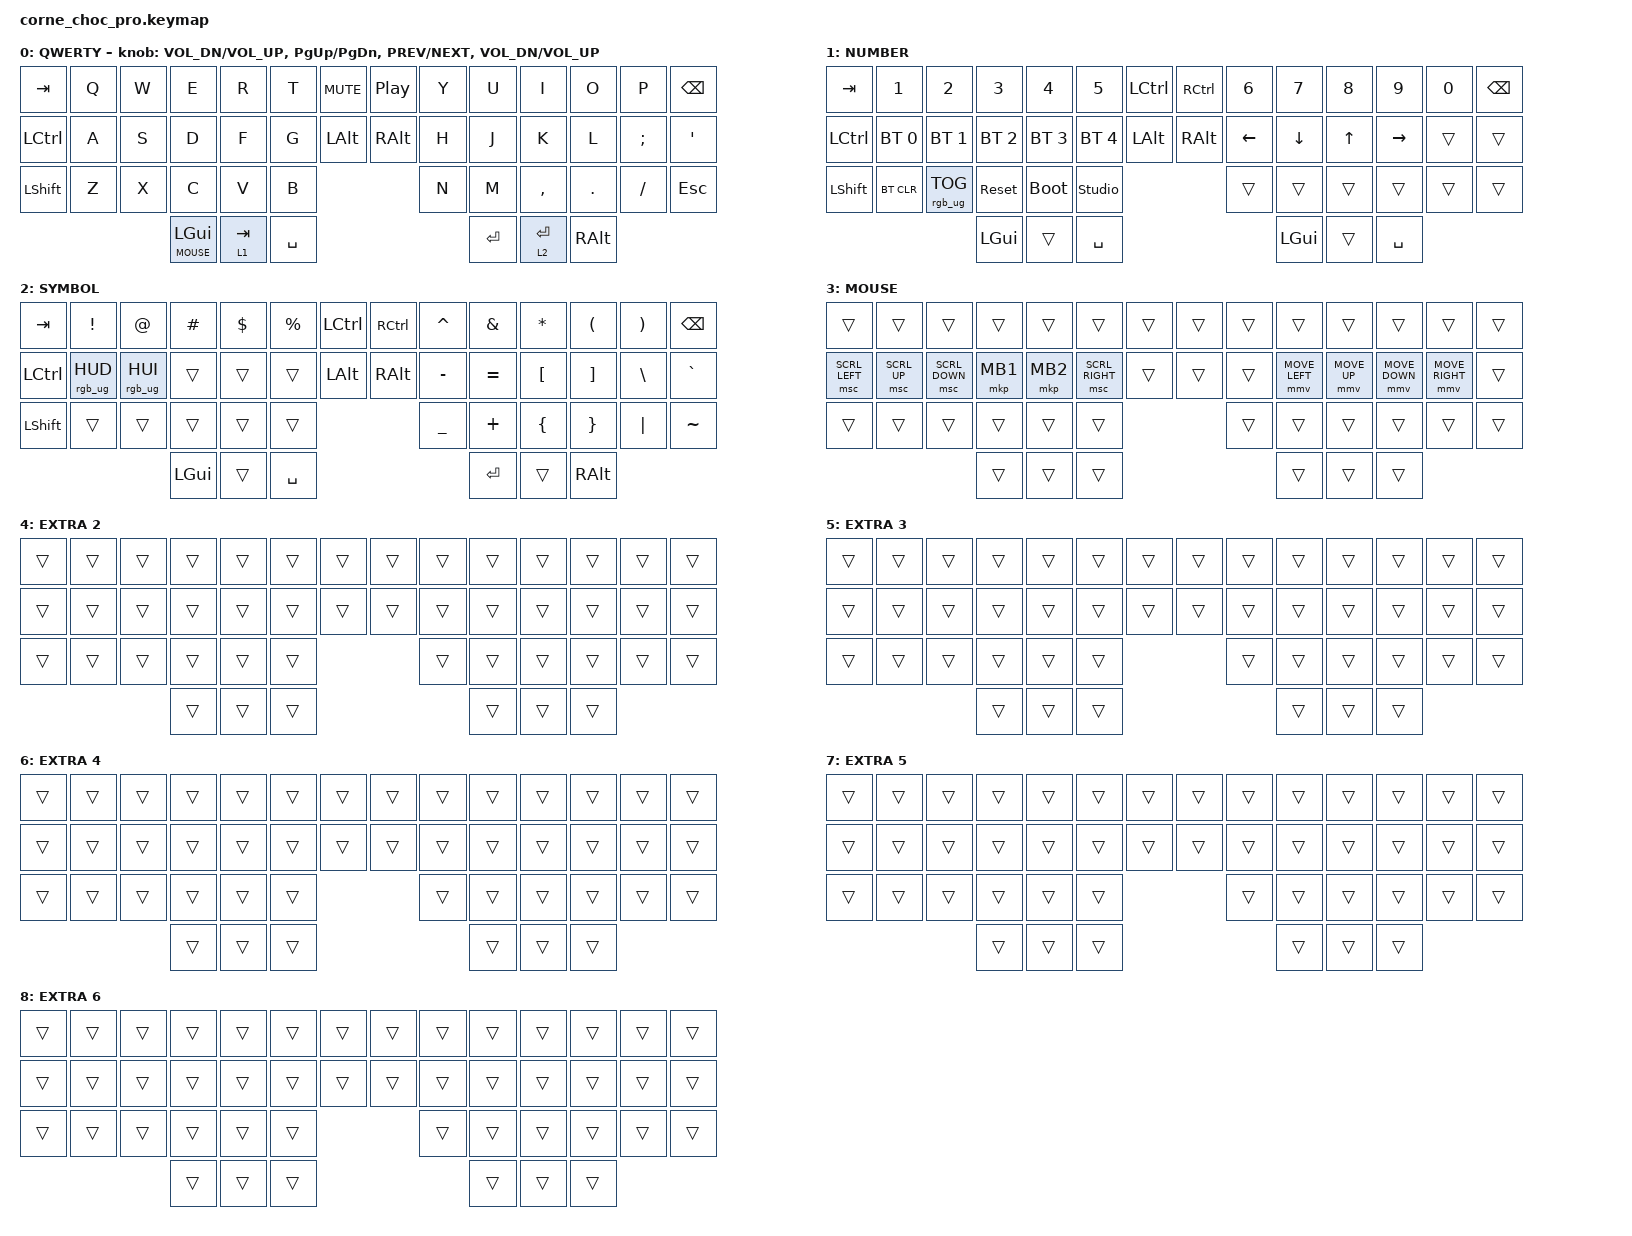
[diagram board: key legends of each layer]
/*
 * Copyright (c) 2020 The ZMK Contributors
 *
 * SPDX-License-Identifier: MIT
 */

#include <behaviors.dtsi>
#include <dt-bindings/zmk/keys.h>
#include <dt-bindings/zmk/bt.h>
#include <dt-bindings/zmk/rgb.h>
#include <dt-bindings/zmk/pointing.h>

// Layer-Indizes (Reihenfolge entspricht der Reihenfolge unten im keymap-Block)
#define MOUSE 3

/ {
    chosen {
        zmk,physical-layout = &default_layout;
    };
};

/ {
    behaviors {
        // Home Row Mod, linke Hand. In ZMK Studio als "Home Row Mod Left" waehlbar.
        // Der Modifier greift nur, wenn eine Taste der RECHTEN Hand folgt
        // (oder wenn lange gehalten wird). Tasten der gleichen Hand sind immer normales Tippen.
        // Auf keiner Taste vorbelegt: Du waehlst sie selbst in Studio.
        hml: homerow_mods_left {
            compatible = "zmk,behavior-hold-tap";
            display-name = "Home Row Mod Left";
            #binding-cells = <2>;
            flavor = "balanced";
            tapping-term-ms = <280>;
            quick-tap-ms = <175>;
            require-prior-idle-ms = <150>;
            bindings = <&kp>, <&kp>;
            hold-trigger-key-positions = <7 8 9 10 11 12 13 21 22 23 24 25 26 27 34 35 36 37 38 39 43 44 45>;
            hold-trigger-on-release;
        };

        // Home Row Mod, rechte Hand. In ZMK Studio als "Home Row Mod Right" waehlbar.
        // Reagiert nur auf Tasten der LINKEN Hand.
        hmr: homerow_mods_right {
            compatible = "zmk,behavior-hold-tap";
            display-name = "Home Row Mod Right";
            #binding-cells = <2>;
            flavor = "balanced";
            tapping-term-ms = <280>;
            quick-tap-ms = <175>;
            require-prior-idle-ms = <150>;
            bindings = <&kp>, <&kp>;
            hold-trigger-key-positions = <0 1 2 3 4 5 6 14 15 16 17 18 19 20 28 29 30 31 32 33 40 41 42>;
            hold-trigger-on-release;
        };

        // Linke Daumentaste: halten = NUMBER-Layer, antippen = Tab.
        lt_num: lt_num {
            compatible = "zmk,behavior-hold-tap";
            display-name = "Layer Tap NUM";
            #binding-cells = <2>;
            flavor = "balanced";
            tapping-term-ms = <250>;
            bindings = <&mo>, <&kp>;
        };

        // Rechte Daumentaste: halten = SYMBOL-Layer, antippen = Enter.
        lt_sym: lt_sym {
            compatible = "zmk,behavior-hold-tap";
            display-name = "Layer Tap SYM";
            #binding-cells = <2>;
            flavor = "balanced";
            tapping-term-ms = <250>;
            bindings = <&mo>, <&kp>;
        };
    };

    keymap {
        compatible = "zmk,keymap";

        default_layer {
            display-name = "QWERTY";
            // --------------------------------------------------------------------------------
            // |  TAB |  Q  |  W  |  E  |  R  |  T  |  MUTE |  PP   |  Y  |  U   |  I  |  O  |  P  | BSPC |
            // | CTRL |  A  |  S  |  D  |  F  |  G  |  LALT |  RALT |  H  |  J   |  K  |  L  |  ;  |  '   |
            // | SHFT |  Z  |  X  |  C  |  V  |  B  |               |  N  |  M   |  ,  |  .  |  /  | ESC  |
            //                    |GUI/M| NUM | SPC |               | ENT | SYM  | ALT |
            // GUI/M = antippen: GUI, halten: MOUSE-Layer
            bindings = <
                &kp TAB   &kp Q &kp W &kp E &kp R &kp T &kp C_MUTE &kp C_PP &kp Y &kp U  &kp I     &kp O   &kp P    &kp BSPC
                &kp LCTRL &kp A &kp S &kp D &kp F &kp G &kp LALT   &kp RALT &kp H &kp J  &kp K     &kp L   &kp SEMI &kp SQT
                &kp LSHFT &kp Z &kp X &kp C &kp V &kp B                     &kp N &kp M  &kp COMMA &kp DOT &kp FSLH &kp ESC
                                      &lt MOUSE LGUI &lt_num 1 TAB &kp SPACE &kp RET &lt_sym 2 RET &kp RALT
            >;
            sensor-bindings = <&inc_dec_kp C_VOL_DN C_VOL_UP &inc_dec_kp PG_UP PG_DN &inc_dec_kp C_PREV C_NEXT &inc_dec_kp C_VOL_DN C_VOL_UP>;
        };

        lower_layer {
            display-name = "NUMBER";
            // -----------------------------------------------------------------------------------------
            // |  TAB |  1  |  2  |  3  |  4  |  5    |  LCTRL | RCTRL |  6  |  7  |  8  |  9  |  0  | BSPC |
            // | CTRL | BT1 | BT2 | BT3 | BT4 | BT5   |  LALT  | RALT  | LFT | DWN |  UP | RGT |     |      |
            // | SHFT | BTCR| RGB | RST | BOOT| Unlock|        |       |     |     |     |     |     |      |
            //                    | GUI |     | SPC   |        | ENT   |     | ALT |
            bindings = <
                &kp TAB   &kp N1       &kp N2          &kp N3       &kp N4       &kp N5       &kp LCTRL &kp RCTRL &kp N6   &kp N7   &kp N8 &kp N9    &kp N0 &kp BSPC
                &kp LCTRL &bt BT_SEL 0 &bt BT_SEL 1    &bt BT_SEL 2 &bt BT_SEL 3 &bt BT_SEL 4 &kp LALT  &kp RALT  &kp LEFT &kp DOWN &kp UP &kp RIGHT &trans &trans
                &kp LSHFT &bt BT_CLR   &rgb_ug RGB_TOG &sys_reset   &bootloader  &studio_unlock                   &trans   &trans   &trans &trans    &trans &trans
                                                       &kp LGUI     &trans       &kp SPACE                        &kp LGUI &trans   &kp SPACE
            >;
        };

        raise_layer {
            display-name = "SYMBOL";
            // -----------------------------------------------------------------------------------------
            // |  TAB |  !  |  @  |  #  |  $  |  %  | LCTRL | RCTRL |  ^  |  &  |  *  |  (  |  )  | BSPC |
            // | CTRL | HUD | HUI |     |     |     |  LALT | RALT  |  -  |  =  |  [  |  ]  |  \  |  `   |
            // | SHFT |     |     |     |     |     |               |  _  |  +  |  {  |  }  | "|" |  ~   |
            //                    | GUI |     | SPC |               | ENT |     | ALT |
            bindings = <
                &kp  TAB  &kp EXCL        &kp AT          &kp HASH &kp DLLR &kp PRCNT &kp LCTRL &kp RCTRL &kp CARET &kp AMPS  &kp ASTRK &kp LPAR &kp RPAR &kp BSPC
                &kp LCTRL &rgb_ug RGB_HUD &rgb_ug RGB_HUI &trans   &trans   &trans    &kp LALT  &kp RALT  &kp MINUS &kp EQUAL &kp LBKT  &kp RBKT &kp BSLH &kp GRAVE
                &kp LSHFT &trans          &trans          &trans   &trans   &trans                        &kp UNDER &kp PLUS  &kp LBRC  &kp RBRC &kp PIPE &kp TILDE
                                                          &kp LGUI &trans   &kp SPACE                     &kp RET   &trans    &kp RALT
            >;
        };

        // Layer 3: Maus. Aktiv, solange die aeussere linke Daumentaste (GUI/M) gehalten wird.
        // Nur die Mausfelder sind belegt, alles andere ist &trans (zum spaeteren Zuweisen).
        mouse_layer {
            display-name = "MOUSE";
            // -----------------------------------------------------------------------------------------
            // |     |     |     |     |     |     |       |       |     |      |     |     |     |      |
            // | WH L| WH U| WH D| MB1 | MB2 | WH R|       |       |     |  <   |  ^  |  v  |  >  |      |
            // |     |     |     |     |     |     |               |     |      |     |     |     |      |
            //                    |     |     |     |               |     |      |     |
            // WH = Mausrad (L links, U hoch, D runter, R rechts), MB1 = Linksklick (D), MB2 = Rechtsklick (F)
            // Mauszeiger auf J/K/L/; (links, hoch, runter, rechts)
            bindings = <
                &trans         &trans        &trans          &trans    &trans    &trans          &trans &trans &trans &trans         &trans       &trans         &trans          &trans
                &msc SCRL_LEFT &msc SCRL_UP  &msc SCRL_DOWN  &mkp MB1  &mkp MB2  &msc SCRL_RIGHT &trans &trans &trans &mmv MOVE_LEFT &mmv MOVE_UP &mmv MOVE_DOWN &mmv MOVE_RIGHT &trans
                &trans         &trans        &trans          &trans    &trans    &trans                        &trans &trans         &trans       &trans         &trans          &trans
                                                             &trans    &trans    &trans                        &trans &trans         &trans
            >;
        };

        extra_layer_2 {
            display-name = "EXTRA 2";
            bindings = <
                &trans &trans &trans &trans &trans &trans &trans &trans &trans &trans &trans &trans &trans &trans
                &trans &trans &trans &trans &trans &trans &trans &trans &trans &trans &trans &trans &trans &trans
                &trans &trans &trans &trans &trans &trans               &trans &trans &trans &trans &trans &trans
                                     &trans &trans &trans               &trans &trans &trans
            >;
        };

        extra_layer_3 {
            display-name = "EXTRA 3";
            bindings = <
                &trans &trans &trans &trans &trans &trans &trans &trans &trans &trans &trans &trans &trans &trans
                &trans &trans &trans &trans &trans &trans &trans &trans &trans &trans &trans &trans &trans &trans
                &trans &trans &trans &trans &trans &trans               &trans &trans &trans &trans &trans &trans
                                     &trans &trans &trans               &trans &trans &trans
            >;
        };

        extra_layer_4 {
            display-name = "EXTRA 4";
            bindings = <
                &trans &trans &trans &trans &trans &trans &trans &trans &trans &trans &trans &trans &trans &trans
                &trans &trans &trans &trans &trans &trans &trans &trans &trans &trans &trans &trans &trans &trans
                &trans &trans &trans &trans &trans &trans               &trans &trans &trans &trans &trans &trans
                                     &trans &trans &trans               &trans &trans &trans
            >;
        };

        extra_layer_5 {
            display-name = "EXTRA 5";
            bindings = <
                &trans &trans &trans &trans &trans &trans &trans &trans &trans &trans &trans &trans &trans &trans
                &trans &trans &trans &trans &trans &trans &trans &trans &trans &trans &trans &trans &trans &trans
                &trans &trans &trans &trans &trans &trans               &trans &trans &trans &trans &trans &trans
                                     &trans &trans &trans               &trans &trans &trans
            >;
        };

        extra_layer_6 {
            display-name = "EXTRA 6";
            bindings = <
                &trans &trans &trans &trans &trans &trans &trans &trans &trans &trans &trans &trans &trans &trans
                &trans &trans &trans &trans &trans &trans &trans &trans &trans &trans &trans &trans &trans &trans
                &trans &trans &trans &trans &trans &trans               &trans &trans &trans &trans &trans &trans
                                     &trans &trans &trans               &trans &trans &trans
            >;
        };
    };
};
